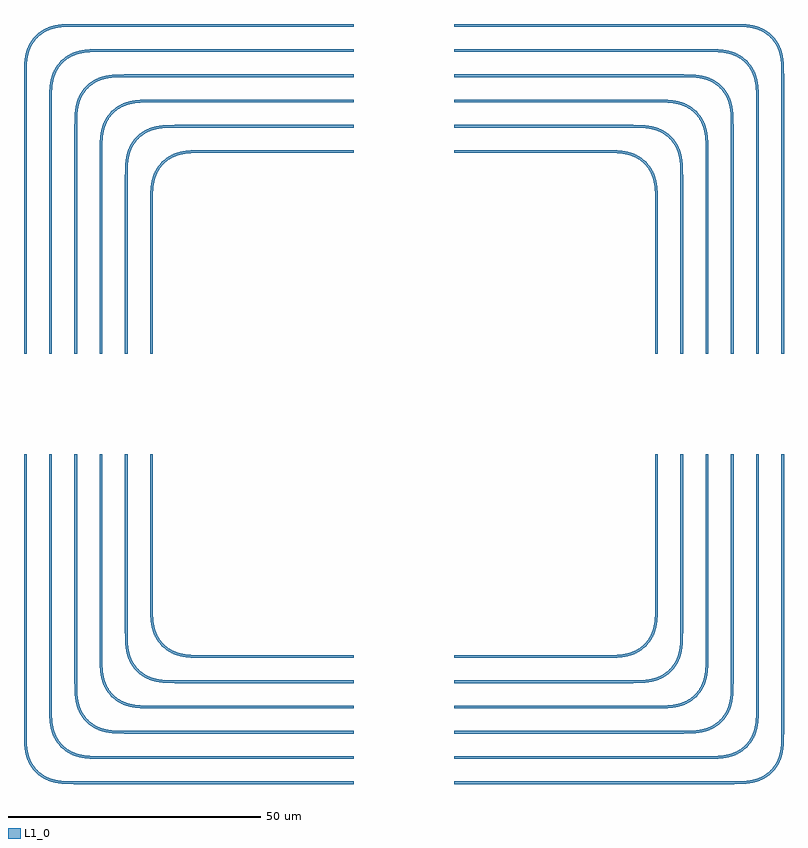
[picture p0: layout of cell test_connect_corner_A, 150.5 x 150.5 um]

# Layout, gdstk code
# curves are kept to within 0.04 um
from math import pi, radians
import gdstk
lib = gdstk.Library(unit=1e-6, precision=1e-09)
def R(c, l, rs):  # rectangles x0, y0, x1, y1
    for r in rs: c.add(gdstk.rectangle(r[:2], r[2:], *l))
def P(c, l, *ps):  # polygons
    for p in ps: c.add(gdstk.Polygon(p, *l))
L1_0 = (1, 0)

bend_euler_rnone_a90_p0p = lib.new_cell('bend_euler_RNone_A90_P0p5_WAFTrue_NNone_LNone_WNone_Dccw_CSxs_34e31a19')
P(bend_euler_rnone_a90_p0p, L1_0, [(0,-0.25),(0,0.25),(1.655,0.269),(2.881,0.353),(3.952,0.52),(4.99,0.806),(5.731,1.113),(6.431,1.505),(7.575,2.425),(8.495,3.569),(8.887,4.269),(9.194,5.01),(9.48,6.048),(9.647,7.119),(9.731,8.345),(9.75,10),(10.25,10),(10.158,7.205),(10.023,6.224),(9.797,5.254),(9.457,4.312),(9.066,3.545),(8.5,2.715),(7.928,2.072),(7.285,1.5),(6.455,0.934),(5.688,0.543),(4.746,0.203),(3.776,-0.023),(2.795,-0.158)])

straight_l30_n2_csxs_34e = lib.new_cell('straight_L30_N2_CSxs_34e31a19_W0p5')
R(straight_l30_n2_csxs_34e, L1_0, [(0,-0.25,30,0.25)])

straight_l35_n2_csxs_34e = lib.new_cell('straight_L35_N2_CSxs_34e31a19_W0p5')
R(straight_l35_n2_csxs_34e, L1_0, [(0,-0.25,35,0.25)])

straight_l40_n2_csxs_34e = lib.new_cell('straight_L40_N2_CSxs_34e31a19_W0p5')
R(straight_l40_n2_csxs_34e, L1_0, [(0,-0.25,40,0.25)])

straight_l45_n2_csxs_34e = lib.new_cell('straight_L45_N2_CSxs_34e31a19_W0p5')
R(straight_l45_n2_csxs_34e, L1_0, [(0,-0.25,45,0.25)])

straight_l50_n2_csxs_34e = lib.new_cell('straight_L50_N2_CSxs_34e31a19_W0p5')
R(straight_l50_n2_csxs_34e, L1_0, [(0,-0.25,50,0.25)])

straight_l55_n2_csxs_34e = lib.new_cell('straight_L55_N2_CSxs_34e31a19_W0p5')
R(straight_l55_n2_csxs_34e, L1_0, [(0,-0.25,55,0.25)])

test_connect_corner_a = lib.new_cell('test_connect_corner_A')
test_connect_corner_a.add(gdstk.Reference(bend_euler_rnone_a90_p0p, (50,40), rotation=pi/2))
test_connect_corner_a.add(gdstk.Reference(straight_l30_n2_csxs_34e, (40,50), rotation=pi))
test_connect_corner_a.add(gdstk.Reference(straight_l30_n2_csxs_34e, (50,40), rotation=3*pi/2))
test_connect_corner_a.add(gdstk.Reference(bend_euler_rnone_a90_p0p, (55,45), rotation=pi/2))
test_connect_corner_a.add(gdstk.Reference(straight_l35_n2_csxs_34e, (45,55), rotation=pi))
test_connect_corner_a.add(gdstk.Reference(straight_l35_n2_csxs_34e, (55,45), rotation=3*pi/2))
test_connect_corner_a.add(gdstk.Reference(bend_euler_rnone_a90_p0p, (60,50), rotation=pi/2))
test_connect_corner_a.add(gdstk.Reference(straight_l40_n2_csxs_34e, (50,60), rotation=pi))
test_connect_corner_a.add(gdstk.Reference(straight_l40_n2_csxs_34e, (60,50), rotation=3*pi/2))
test_connect_corner_a.add(gdstk.Reference(bend_euler_rnone_a90_p0p, (65,55), rotation=pi/2))
test_connect_corner_a.add(gdstk.Reference(straight_l45_n2_csxs_34e, (55,65), rotation=pi))
test_connect_corner_a.add(gdstk.Reference(straight_l45_n2_csxs_34e, (65,55), rotation=3*pi/2))
test_connect_corner_a.add(gdstk.Reference(bend_euler_rnone_a90_p0p, (70,60), rotation=pi/2))
test_connect_corner_a.add(gdstk.Reference(straight_l50_n2_csxs_34e, (60,70), rotation=pi))
test_connect_corner_a.add(gdstk.Reference(straight_l50_n2_csxs_34e, (70,60), rotation=3*pi/2))
test_connect_corner_a.add(gdstk.Reference(bend_euler_rnone_a90_p0p, (75,65), rotation=pi/2))
test_connect_corner_a.add(gdstk.Reference(straight_l55_n2_csxs_34e, (65,75), rotation=pi))
test_connect_corner_a.add(gdstk.Reference(straight_l55_n2_csxs_34e, (75,65), rotation=3*pi/2))
test_connect_corner_a.add(gdstk.Reference(bend_euler_rnone_a90_p0p, (-50,40), rotation=pi/2, x_reflection=True))
test_connect_corner_a.add(gdstk.Reference(straight_l30_n2_csxs_34e, (-40,50), x_reflection=True))
test_connect_corner_a.add(gdstk.Reference(straight_l30_n2_csxs_34e, (-50,40), rotation=3*pi/2, x_reflection=True))
test_connect_corner_a.add(gdstk.Reference(bend_euler_rnone_a90_p0p, (-55,45), rotation=pi/2, x_reflection=True))
test_connect_corner_a.add(gdstk.Reference(straight_l35_n2_csxs_34e, (-45,55), x_reflection=True))
test_connect_corner_a.add(gdstk.Reference(straight_l35_n2_csxs_34e, (-55,45), rotation=3*pi/2, x_reflection=True))
test_connect_corner_a.add(gdstk.Reference(bend_euler_rnone_a90_p0p, (-60,50), rotation=pi/2, x_reflection=True))
test_connect_corner_a.add(gdstk.Reference(straight_l40_n2_csxs_34e, (-50,60), x_reflection=True))
test_connect_corner_a.add(gdstk.Reference(straight_l40_n2_csxs_34e, (-60,50), rotation=3*pi/2, x_reflection=True))
test_connect_corner_a.add(gdstk.Reference(bend_euler_rnone_a90_p0p, (-65,55), rotation=pi/2, x_reflection=True))
test_connect_corner_a.add(gdstk.Reference(straight_l45_n2_csxs_34e, (-55,65), x_reflection=True))
test_connect_corner_a.add(gdstk.Reference(straight_l45_n2_csxs_34e, (-65,55), rotation=3*pi/2, x_reflection=True))
test_connect_corner_a.add(gdstk.Reference(bend_euler_rnone_a90_p0p, (-70,60), rotation=pi/2, x_reflection=True))
test_connect_corner_a.add(gdstk.Reference(straight_l50_n2_csxs_34e, (-60,70), x_reflection=True))
test_connect_corner_a.add(gdstk.Reference(straight_l50_n2_csxs_34e, (-70,60), rotation=3*pi/2, x_reflection=True))
test_connect_corner_a.add(gdstk.Reference(bend_euler_rnone_a90_p0p, (-75,65), rotation=pi/2, x_reflection=True))
test_connect_corner_a.add(gdstk.Reference(straight_l55_n2_csxs_34e, (-65,75), x_reflection=True))
test_connect_corner_a.add(gdstk.Reference(straight_l55_n2_csxs_34e, (-75,65), rotation=3*pi/2, x_reflection=True))
test_connect_corner_a.add(gdstk.Reference(bend_euler_rnone_a90_p0p, (50,-40), rotation=3*pi/2, x_reflection=True))
test_connect_corner_a.add(gdstk.Reference(straight_l30_n2_csxs_34e, (40,-50), rotation=pi, x_reflection=True))
test_connect_corner_a.add(gdstk.Reference(straight_l30_n2_csxs_34e, (50,-40), rotation=pi/2, x_reflection=True))
test_connect_corner_a.add(gdstk.Reference(bend_euler_rnone_a90_p0p, (55,-45), rotation=3*pi/2, x_reflection=True))
test_connect_corner_a.add(gdstk.Reference(straight_l35_n2_csxs_34e, (45,-55), rotation=pi, x_reflection=True))
test_connect_corner_a.add(gdstk.Reference(straight_l35_n2_csxs_34e, (55,-45), rotation=pi/2, x_reflection=True))
test_connect_corner_a.add(gdstk.Reference(bend_euler_rnone_a90_p0p, (60,-50), rotation=3*pi/2, x_reflection=True))
test_connect_corner_a.add(gdstk.Reference(straight_l40_n2_csxs_34e, (50,-60), rotation=pi, x_reflection=True))
test_connect_corner_a.add(gdstk.Reference(straight_l40_n2_csxs_34e, (60,-50), rotation=pi/2, x_reflection=True))
test_connect_corner_a.add(gdstk.Reference(bend_euler_rnone_a90_p0p, (65,-55), rotation=3*pi/2, x_reflection=True))
test_connect_corner_a.add(gdstk.Reference(straight_l45_n2_csxs_34e, (55,-65), rotation=pi, x_reflection=True))
test_connect_corner_a.add(gdstk.Reference(straight_l45_n2_csxs_34e, (65,-55), rotation=pi/2, x_reflection=True))
test_connect_corner_a.add(gdstk.Reference(bend_euler_rnone_a90_p0p, (70,-60), rotation=3*pi/2, x_reflection=True))
test_connect_corner_a.add(gdstk.Reference(straight_l50_n2_csxs_34e, (60,-70), rotation=pi, x_reflection=True))
test_connect_corner_a.add(gdstk.Reference(straight_l50_n2_csxs_34e, (70,-60), rotation=pi/2, x_reflection=True))
test_connect_corner_a.add(gdstk.Reference(bend_euler_rnone_a90_p0p, (75,-65), rotation=3*pi/2, x_reflection=True))
test_connect_corner_a.add(gdstk.Reference(straight_l55_n2_csxs_34e, (65,-75), rotation=pi, x_reflection=True))
test_connect_corner_a.add(gdstk.Reference(straight_l55_n2_csxs_34e, (75,-65), rotation=pi/2, x_reflection=True))
test_connect_corner_a.add(gdstk.Reference(bend_euler_rnone_a90_p0p, (-50,-40), rotation=3*pi/2))
test_connect_corner_a.add(gdstk.Reference(straight_l30_n2_csxs_34e, (-40,-50)))
test_connect_corner_a.add(gdstk.Reference(straight_l30_n2_csxs_34e, (-50,-40), rotation=pi/2))
test_connect_corner_a.add(gdstk.Reference(bend_euler_rnone_a90_p0p, (-55,-45), rotation=3*pi/2))
test_connect_corner_a.add(gdstk.Reference(straight_l35_n2_csxs_34e, (-45,-55)))
test_connect_corner_a.add(gdstk.Reference(straight_l35_n2_csxs_34e, (-55,-45), rotation=pi/2))
test_connect_corner_a.add(gdstk.Reference(bend_euler_rnone_a90_p0p, (-60,-50), rotation=3*pi/2))
test_connect_corner_a.add(gdstk.Reference(straight_l40_n2_csxs_34e, (-50,-60)))
test_connect_corner_a.add(gdstk.Reference(straight_l40_n2_csxs_34e, (-60,-50), rotation=pi/2))
test_connect_corner_a.add(gdstk.Reference(bend_euler_rnone_a90_p0p, (-65,-55), rotation=3*pi/2))
test_connect_corner_a.add(gdstk.Reference(straight_l45_n2_csxs_34e, (-55,-65)))
test_connect_corner_a.add(gdstk.Reference(straight_l45_n2_csxs_34e, (-65,-55), rotation=pi/2))
test_connect_corner_a.add(gdstk.Reference(bend_euler_rnone_a90_p0p, (-70,-60), rotation=3*pi/2))
test_connect_corner_a.add(gdstk.Reference(straight_l50_n2_csxs_34e, (-60,-70)))
test_connect_corner_a.add(gdstk.Reference(straight_l50_n2_csxs_34e, (-70,-60), rotation=pi/2))
test_connect_corner_a.add(gdstk.Reference(bend_euler_rnone_a90_p0p, (-75,-65), rotation=3*pi/2))
test_connect_corner_a.add(gdstk.Reference(straight_l55_n2_csxs_34e, (-65,-75)))
test_connect_corner_a.add(gdstk.Reference(straight_l55_n2_csxs_34e, (-75,-65), rotation=pi/2))

lib.write_gds('test_connect_corner_A.gds')
